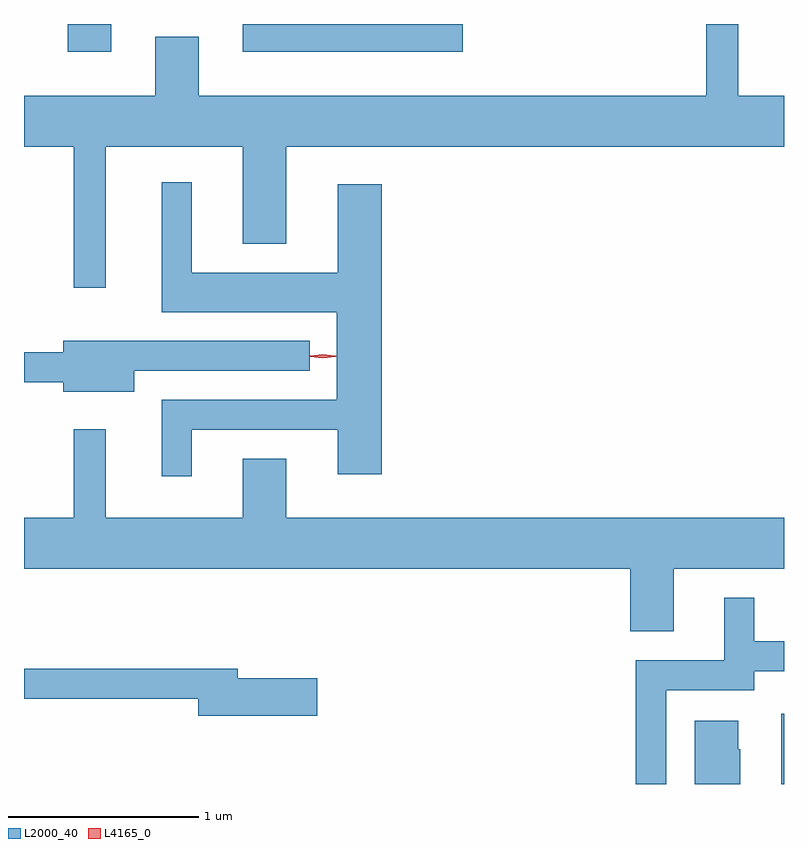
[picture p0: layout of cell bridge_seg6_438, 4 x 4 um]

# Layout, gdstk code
import gdstk
lib = gdstk.Library(unit=1e-6, precision=1e-09)
def R(c, l, rs):  # rectangles x0, y0, x1, y1
    for r in rs: c.add(gdstk.rectangle(r[:2], r[2:], *l))
def P(c, l, *ps):  # polygons
    for p in ps: c.add(gdstk.Polygon(p, *l))
L2000_40 = (2000, 40)
L4165_0 = (4165, 0)

bridge_seg6_438 = lib.new_cell('bridge_seg6_438')
R(bridge_seg6_438, L2000_40, [(665.296,1604.402,665.31,1604.773), (661.541,1608.256,661.769,1608.402), (662.461,1608.256,663.618,1608.402)])
P(bridge_seg6_438, L2000_40, [(661.739,1607.756),(662.461,1607.756),(662.461,1607.246),(662.689,1607.246),(662.689,1607.756),(665.31,1607.756),(665.31,1608.024),(665.069,1608.024),(665.069,1608.402),(664.901,1608.402),(664.901,1608.024),(662.229,1608.024),(662.229,1608.334),(662.001,1608.334),(662.001,1608.024),(661.31,1608.024),(661.31,1607.756),(661.571,1607.756),(661.571,1607.013),(661.739,1607.013)],
  [(662.194,1606.266),(662.961,1606.266),(662.961,1606.031),(663.194,1606.031),(663.194,1607.559),(662.961,1607.559),(662.961,1607.094),(662.194,1607.094),(662.194,1607.568),(662.036,1607.568),(662.036,1606.886),(662.956,1606.886),(662.956,1606.424),(662.036,1606.424),(662.036,1606.023),(662.194,1606.023)],
  [(661.889,1606.576),(662.813,1606.576),(662.813,1606.734),(661.516,1606.734),(661.516,1606.674),(661.31,1606.674),(661.31,1606.516),(661.516,1606.516),(661.516,1606.466),(661.889,1606.466)],
  [(664.729,1605.536),(665.31,1605.536),(665.31,1605.804),(662.689,1605.804),(662.689,1606.114),(662.461,1606.114),(662.461,1605.804),(661.739,1605.804),(661.739,1606.268),(661.571,1606.268),(661.571,1605.804),(661.31,1605.804),(661.31,1605.536),(664.501,1605.536),(664.501,1605.206),(664.729,1605.206)],
  [(664.689,1604.896),(665.154,1604.896),(665.154,1604.996),(665.31,1604.996),(665.31,1605.154),(665.154,1605.154),(665.154,1605.383),(664.996,1605.383),(664.996,1605.054),(664.531,1605.054),(664.531,1604.402),(664.689,1604.402)],
  [(662.854,1604.959),(662.434,1604.959),(662.434,1605.009),(661.31,1605.009),(661.31,1604.851),(662.226,1604.851),(662.226,1604.761),(662.854,1604.761)],
  [(665.079,1604.585),(665.069,1604.585),(665.069,1604.734),(664.841,1604.734),(664.841,1604.402),(665.079,1604.402)])
P(bridge_seg6_438, L4165_0, [(662.883,1606.643),(662.814,1606.652),(662.813,1606.653),(662.814,1606.653),(662.883,1606.663),(662.952,1606.653),(662.953,1606.653),(662.952,1606.652)],
  [(662.883,1606.645),(662.817,1606.654),(662.817,1606.655),(662.817,1606.656),(662.883,1606.665),(662.949,1606.656),(662.95,1606.655),(662.949,1606.654)])

lib.write_gds('bridge_seg6_438.gds')
